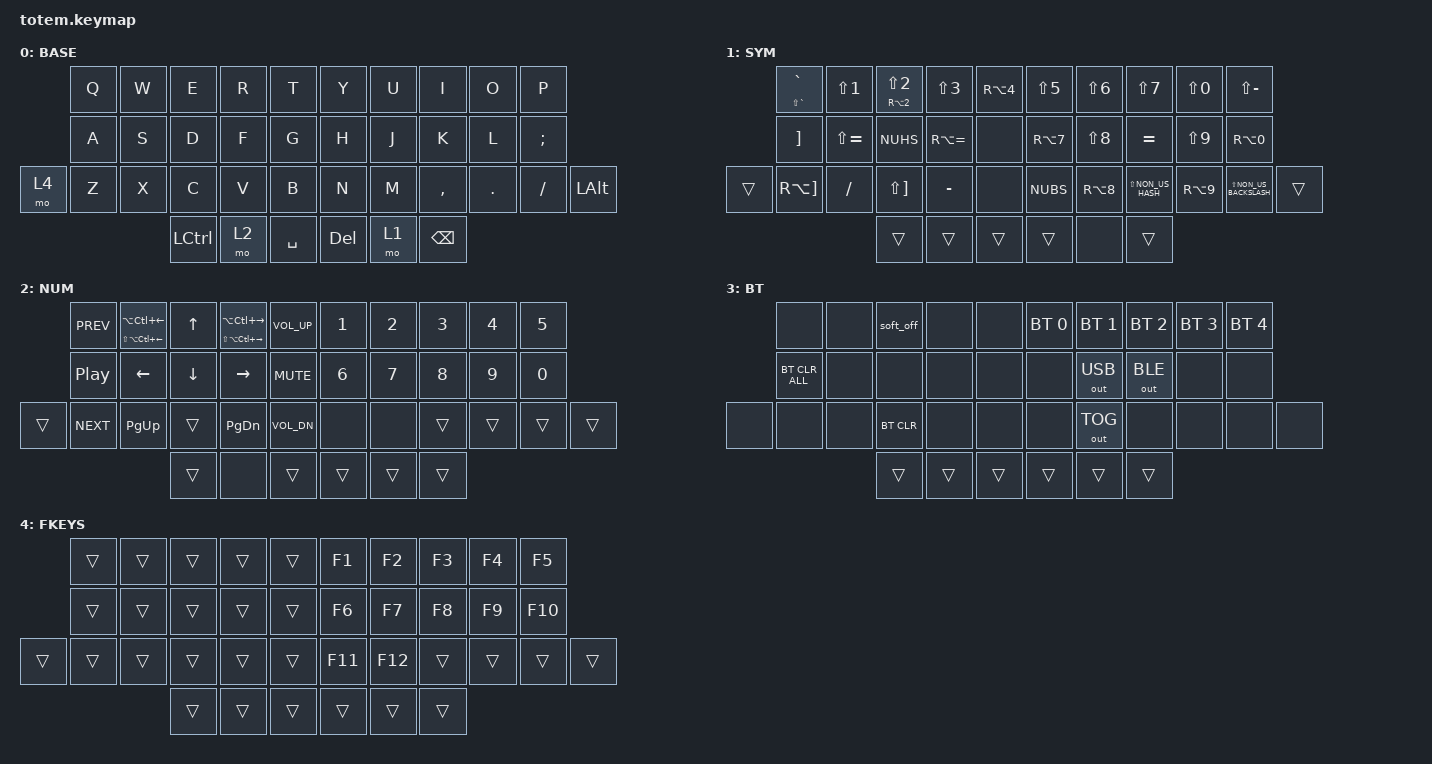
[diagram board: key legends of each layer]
//
//                                                        ▀▀▀▀▀     ▀▀▀▀▀          ▀▀█▀▀
//                                                        ▄▀▀▀▄  ▄  ▄▀▀▀▄  ▄  ▄▀▀▀▄  █  ▄▀▀▀▄
//                                                        █   █  █  █   █  █  █   █  █  █   █
//                                                         ▀▀▀   █   ▀▀▀   █   ▀▀▀   ▀   ▀▀▀
//                                                               █      ▄▄▄█▄▄▄    █   █  
//                                                               ▀      █  █  █     █▄█
//                                                             ▀▀▀▀▀    █  █  █      ▀
//                                                                      ▀  ▀  ▀
//
// ▄▄▄▄▄▄▄▄▄▄▄▄▄▄▄▄▄▄▄▄▄▄▄▄▄▄▄▄▄▄▄▄▄▄▄▄▄▄▄▄▄▄▄▄▄▄▄▄▄▄▄▄▄▄▄▄▄▄▄▄▄▄▄▄▄▄▄▄▄▄▄▄▄▄▄▄▄▄▄▄▄▄▄▄▄▄▄▄▄▄▄▄▄▄▄▄▄▄▄▄▄▄▄▄▄▄▄▄▄▄▄▄▄▄▄▄▄▄▄▄▄▄▄▄▄▄▄▄▄▄▄▄▄▄▄▄▄▄▄▄▄▄▄▄▄▄▄▄▄

#include <behaviors.dtsi>
#include <dt-bindings/zmk/bt.h>
#include <dt-bindings/zmk/keys.h>
#include <dt-bindings/zmk/outputs.h>

#define BASE 0
#define NAV  1
#define SYM  2
#define ADJ  3
#define TVP1 4
#define TVP2 5

&mt {
};

/ {
    combos {
        compatible = "zmk,combos";

        esc {
            timeout-ms = <50>;
            key-positions = <0 1>;
            bindings = <&kp ESC>;
            layers = <0 1 2 4>;
        };

        ret {
            bindings = <&kp ENTER>;
            key-positions = <16 17 18>;
        };

        tab {
            bindings = <&kp TAB>;
            key-positions = <11 12 13>;
        };

        super {
            bindings = <&kp LEFT_GUI>;
            key-positions = <32 37>;
            slow-release;
        };

        aa {
            bindings = <&kp LEFT_BRACKET>;
            key-positions = <17 18>;
            layers = <0>;
        };

        shift_combo_left {
            bindings = <&kp LEFT_SHIFT>;
            key-positions = <13 12>;
        };

        shift_combo_right {
            bindings = <&kp LEFT_SHIFT>;
            key-positions = <16 17>;
        };

        caps_word {
            bindings = <&caps_word_mod>;
            key-positions = <6 7 8>;
        };

        ae {
            bindings = <&kp APOS>;
            key-positions = <18 19>;
            layers = <0>;
        };

        BT {
            bindings = <&mo 3>;
            key-positions = <32 33 34>;
        };

        num_overlay {
            bindings = <&tog 2>;
            key-positions = <35 36 37>;
        };

        caps_lock {
            bindings = <&kp CAPSLOCK>;
            key-positions = <3 2 1>;
        };

        rgui {
            bindings = <&kp RGUI>;
            key-positions = <34 35>;
        };
    };

    behaviors {
        mt_nav: mt_nav {
            compatible = "zmk,behavior-hold-tap";
            label = "MT_NAV";
            bindings = <&kp>, <&kp>;

            #binding-cells = <2>;
            tapping-term-ms = <180>;
            flavor = "balanced";
            quick-tap-ms = <100>;
        };

        caps_word_mod: caps_word_mod {
            compatible = "zmk,behavior-caps-word";
            label = "CAPS_WORD_MOD";
            #binding-cells = <0>;
            continue-list = <A B C D E F G H I J K L M N O P Q R S T U V W X Y Z FSLH LEFT_SHIFT RIGHT_SHIFT BACKSPACE DELETE>;
        };
    };

    keymap {
        compatible = "zmk,keymap";

        base {
            label = "BASE";
            bindings = <
       &kp Q  &kp W  &kp E             &kp R  &kp T        &kp Y       &kp U  &kp I          &kp O    &kp P
       &kp A  &kp S  &kp D             &kp F  &kp G        &kp H       &kp J  &kp K          &kp L    &kp SEMI
&mo 4  &kp Z  &kp X  &kp C             &kp V  &kp B        &kp N       &kp M  &kp COMMA      &kp DOT  &kp FSLH  &kp LEFT_ALT
                     &kp LEFT_CONTROL  &mo 2  &kp SPACE    &kp DELETE  &mo 1  &kp BACKSPACE
            >;
        };

        symbols {
            label = "SYM";
            bindings = <
        &mt LS(GRAVE) GRAVE    &kp LS(NUMBER_1)  &mt RA(NUMBER_2) LS(N2)  &kp LS(NUMBER_3)  &kp RA(NUMBER_4)    &kp LS(N5)  &kp LS(NUMBER_6)  &kp LS(N7)           &kp LS(N0)  &kp LS(MINUS)
        &kp RIGHT_BRACKET      &kp LS(EQUAL)     &kp NUHS                 &kp RA(EQUAL)     &none               &kp RA(N7)  &kp LS(N8)        &kp EQUAL            &kp LS(N9)  &kp RA(N0)
&trans  &kp RA(RIGHT_BRACKET)  &kp SLASH         &kp LS(RBKT)             &kp MINUS         &none               &kp NUBS    &kp RA(N8)        &kp LS(NON_US_HASH)  &kp RA(N9)  &kp LS(NON_US_BACKSLASH)  &trans
                                                 &trans                   &trans            &trans              &trans      &none             &trans
            >;
        };

        num_nav {
            label = "NUM";
            bindings = <
        &kp C_PREV  &mt_nav LS(LA(LC(LEFT))) LA(LC(LEFT))  &kp UP    &mt_nav LS(LA(LC(RIGHT))) LA(LC(RIGHT))  &kp C_VOL_UP    &kp NUMBER_1  &kp NUMBER_2  &kp NUMBER_3  &kp NUMBER_4  &kp N5
        &kp C_PP    &kp LEFT                               &kp DOWN  &kp RIGHT                                &kp C_MUTE      &kp NUMBER_6  &kp N7        &kp N8        &kp N9        &kp N0
&trans  &kp C_NEXT  &kp PG_UP                              &trans    &kp PG_DN                                &kp C_VOL_DN    &none         &none         &trans        &trans        &trans  &trans
                                                           &trans    &none                                    &trans          &trans        &trans        &trans
            >;
        };

        BT {
            label = "BT";
            bindings = <
       &none           &none  &soft_off   &none   &none     &bt BT_SEL 0  &bt BT_SEL 1  &bt BT_SEL 2  &bt BT_SEL 3  &bt BT_SEL 4
       &bt BT_CLR_ALL  &none  &none       &none   &none     &none         &out OUT_USB  &out OUT_BLE  &none         &none
&none  &none           &none  &bt BT_CLR  &none   &none     &none         &out OUT_TOG  &none         &none         &none         &none
                              &trans      &trans  &trans    &trans        &trans        &trans
            >;
        };

        FKEYS {
            label = "FKEYS";
            bindings = <
        &trans  &trans  &trans  &trans  &trans    &kp F1   &kp F2   &kp F3  &kp F4  &kp F5
        &trans  &trans  &trans  &trans  &trans    &kp F6   &kp F7   &kp F8  &kp F9  &kp F10
&trans  &trans  &trans  &trans  &trans  &trans    &kp F11  &kp F12  &trans  &trans  &trans   &trans
                        &trans  &trans  &trans    &trans   &trans   &trans
            >;
        };
    };
};
